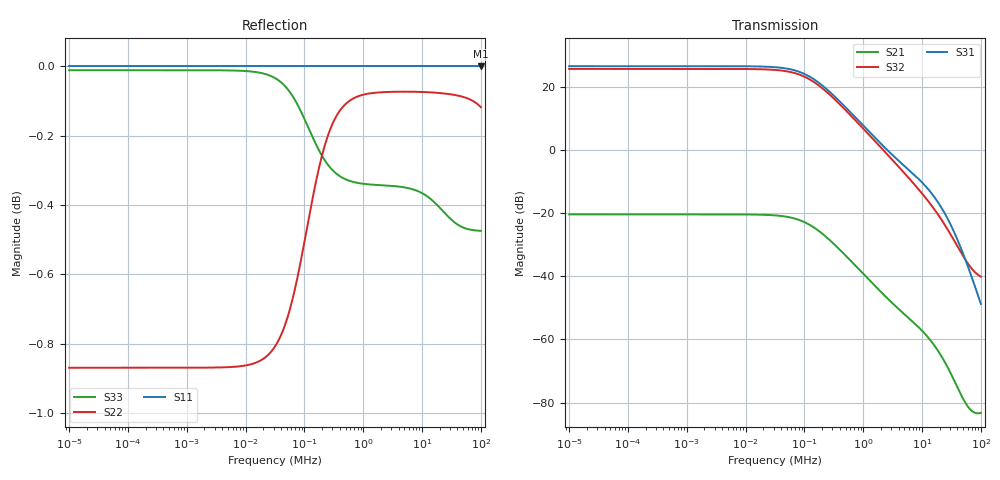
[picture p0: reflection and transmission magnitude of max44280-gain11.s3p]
! Simulated linearized three-port, 3.0 V supply, 1.5 V common mode, 27 C.
! 1 noninverting input, 2 bottom of 1k gain resistor, 3 output. Includes 10k/1k network.
! Touchstone v1 three-port row order S11 S12 S13 / S21 S22 S23 / S31 S32 S33.
# Hz S RI R 50
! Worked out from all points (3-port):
!   701 points, 10 Hz to 100 MHz, reference 50 ohm
!   strongest paths, dB at 10 Hz, 562.3 Hz, 31.62 kHz, 1.778 MHz, 100 MHz:
!     S31: 26.5, 26.5, 26.1, 2.9, -48.8
!     S32: 25.6, 25.6, 25.3, 1.7, -40.1
!     S21: -20.4, -20.4, -20.7, -44.0, -83.3
!   lowest |S11| = 0.0 dB at 100 MHz (marker M1)
!   |S11| at or under -10 dB: nowhere
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10  1 -2.55e-09  5.71e-15 4.7e-15  5.83e-16 4.8e-16
    0.0952 -8.3e-06  0.9048 7.58e-06  6.04e-06 7.74e-07
    21.03 -0.00183  -19.03 0.00167  -0.9987 0.00017
3715.352  1 -9.34e-07  -6.89e-11 3.98e-12  -7.04e-12 4.07e-13
          0.0951 -0.00308  0.9049 0.00281  1.54e-05 0.000287
          21.01 -0.6807  -19.01 0.6215  -0.9966 0.0635
12589.25  1 -3.17e-06  -7.83e-10 9.2e-11  -8e-11 9.39e-12
          0.094 -0.0103  0.9059 0.00943  0.000112 0.000963
          20.78 -2.282  -18.81 2.083  -0.9753 0.2128
32359.37  1 -8.15e-06  -4.85e-09 1.38e-09  -4.95e-10 1.41e-10
          0.0881 -0.0249  0.9112 0.0227  0.000661 0.00232
          19.48 -5.497  -17.62 5.019  -0.8539 0.5127
60255.96  1 -1.52e-05  -1.42e-08 7.51e-09  -1.45e-09 7.67e-10
          0.0746 -0.0392  0.9236 0.0358  0.00193 0.00365
          16.48 -8.658  -14.88 7.904  -0.574 0.8075
117489.8  1 -2.96e-05  -3.36e-08 3.46e-08  -3.43e-09 3.53e-09
          0.0464 -0.0475  0.9493 0.0434  0.00455 0.00443
          10.26 -10.51  -9.2 9.589  0.00605 0.9797
229086.8  1 -5.78e-05  -5.24e-08 1.05e-07  -5.35e-09 1.07e-08
          0.0191 -0.0381  0.9743 0.0347  0.0071 0.00354
          4.226 -8.411  -3.687 7.674  0.5693 0.784
446683.6  1 -0.000113  -6.13e-08 2.4e-07  -6.26e-09 2.45e-08
          0.00594 -0.0229  0.9863 0.0208  0.00833 0.00212
          1.318 -5.067  -1.032 4.614  0.8405 0.4714
2454709  1 -0.00062  -5.55e-08 1.4e-06  -5.67e-09 1.43e-07
         0.000189 -0.00466  0.9915 0.00346  0.00886 0.000353
         0.0479 -1.029  0.1086 0.8769  0.957 0.0896
1e8  0.9997 -0.0253  1.36e-05 5.36e-05  1.39e-06 5.48e-06
     7.31e-06 6.83e-05  0.9863 -0.0196  0.00833 -0.002
     -0.00217 0.00292  0.00906 -0.00382  0.9468 -0.000628
